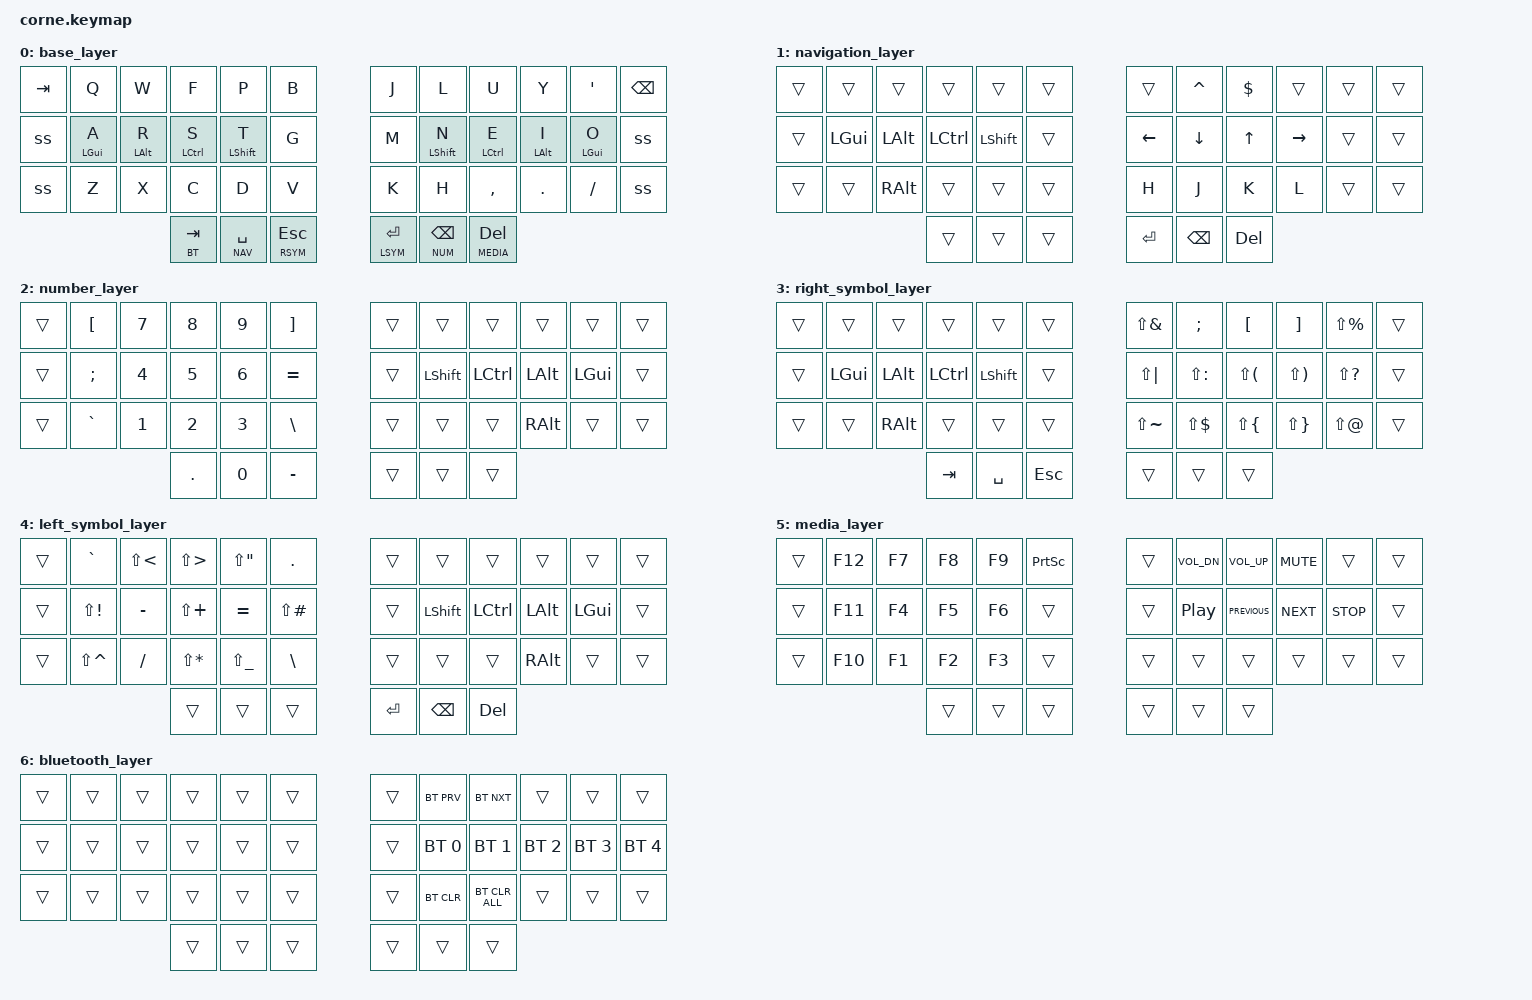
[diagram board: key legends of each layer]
#include <behaviors.dtsi>
#include <dt-bindings/zmk/bt.h>
#include <dt-bindings/zmk/keys.h>
#include "zmk-helpers/key-labels/42.h"

#define BASE 0
#define NAV 1
#define NUM 2
#define RSYM 3
#define LSYM 4
#define MEDIA 5
#define BT 6

#define KEYS_L LT0 LT1 LT2 LT3 LT4 LT5 LM0 LM1 LM2 LM3 LM4 LM5 LB0 LB1 LB2 LB3 LB4 LB5
#define KEYS_R RT0 RT1 RT2 RT3 RT4 RT5 RM0 RM1 RM2 RM3 RM4 RT5 RB0 RB1 RB2 RB3 RB4 RB5
#define THUMBS LH2 LH1 LH0 RH0 RH1 RH2

#define HM_TAPPING_TERM 280
#define HM_TAPPING_TERM_FAST 200
#define HM_PRIOR_IDLE 150

#define COMBO_TERM_FAST 35
#define COMBO_TERM_SLOW 40
#define COMBO_PRIOR_IDLE 100

&sk {  // sticky-key config
    release-after-ms = <900>;  // release after 0.6s
    quick-release;             // no double capitalization when rolling keys
};

&sl {  // sticky-layer config
    ignore-modifiers;          // allow chording sticky mods & layers
};

&lt {
    // Increase layer tap time
    tapping-term-ms = <300>;

    // Quickly tap-tap-holding the lt button will repeat the tap behavior
    // For example enter-enter-hold, will output multiple enter while you
    // keep holding the key.
    // But holding enter without double tapping, will activate the layer.
     quick-tap-ms = <200>;

     flavor = "balanced";
};

&caps_word { 
    // Allow caps word to continue even when minus or underscore
    // are pressed.
    // Also prevent mod presses from cancelling caps word.
    continue-list = <
      UNDERSCORE MINUS
      LCTRL LALT LGUI LSHFT
      RCTRL RALT RGUI RSHFT
      BACKSPACE
    >;
};

/ {
    behaviors {
        hml: homerow_mods_left {
            compatible = "zmk,behavior-hold-tap";
            #binding-cells = <2>;
            bindings = <&kp>, <&kp>;

            flavor = "balanced";
            tapping-term-ms = <HM_TAPPING_TERM>;
            quick-tap-ms = <175>;
            require-prior-idle-ms = <HM_PRIOR_IDLE>;

            hold-trigger-key-positions = <KEYS_R THUMBS>;
            hold-trigger-on-release;
        };

        hmr: homerow_mods_right {
            compatible = "zmk,behavior-hold-tap";
            #binding-cells = <2>;
            bindings = <&kp>, <&kp>;

            flavor = "balanced";
            tapping-term-ms = <HM_TAPPING_TERM>;
            quick-tap-ms = <175>;
            require-prior-idle-ms = <HM_PRIOR_IDLE>;

            hold-trigger-key-positions = <KEYS_L THUMBS>;
            hold-trigger-on-release;
        };

        hmsl: hm_shift_l {
            compatible = "zmk,behavior-hold-tap";
            #binding-cells = <2>;
            bindings = <&kp>, <&kp>;

            flavor = "balanced";
            tapping-term-ms = <HM_TAPPING_TERM_FAST>;
            quick-tap-ms = <175>;
            require-prior-idle-ms = <HM_PRIOR_IDLE>;

            hold-trigger-key-positions = <KEYS_R THUMBS>;
            // hold-trigger-on-release;
        };

        hmsr: hm_shift_r {
            compatible = "zmk,behavior-hold-tap";
            #binding-cells = <2>;
            bindings = <&kp>, <&kp>;

            flavor = "balanced";
            tapping-term-ms = <HM_TAPPING_TERM_FAST>;
            quick-tap-ms = <175>;
            require-prior-idle-ms = <HM_PRIOR_IDLE>;

            hold-trigger-key-positions = <KEYS_L THUMBS>;
            // hold-trigger-on-release;
        }; 
        
        ss: smart_shift {
            compatible = "zmk,behavior-mod-morph";
            #binding-cells = <0>;

            bindings = <&sk LSHFT>, <&caps_word>;

            mods = <(MOD_LSFT)>;
        };
        ltl: layer_tap_left {
            compatible = "zmk,behavior-hold-tap";
            #binding-cells = <2>;
            flavor = "balanced";
            tapping-term-ms = <300>;
            quick-tap-ms = <200>;
            hold-trigger-key-positions = <KEYS_R>;
            bindings = <&mo>, <&kp>;
        };
        ltr: layer_tap_right {
            compatible = "zmk,behavior-hold-tap";
            #binding-cells = <2>;
            flavor = "balanced";
            tapping-term-ms = <300>;
            quick-tap-ms = <200>;
            hold-trigger-key-positions = <KEYS_L>;
            bindings = <&mo>, <&kp>;
        };
    };
    combos {
        compatible = "zmk,combos";

        combo_capsword {
            timeout-ms = <COMBO_TERM_SLOW>;
            require-prior-idle-ms = <COMBO_PRIOR_IDLE>;
            key-positions = <LM1 RM1>;
            layers = <BASE>;
            bindings = <&caps_word>;
        };
    };
    keymap {
        compatible = "zmk,keymap";

        base_layer {
            bindings = <
&kp TAB    &kp Q  &kp W  &kp F    &kp P      &kp B      &kp J    &kp L     &kp U      &kp Y    &kp SQT   &kp BSPC
&ss  &hml LGUI A  &hml LALT R  &hml LCTRL S    &hml LSHIFT T      &kp G      &kp M    &hmr LSHIFT N     &hmr LCTRL E      &hmr LALT I    &hmr LGUI O     &ss
&ss  &kp Z  &kp X  &kp C    &kp D      &kp V      &kp K    &kp H     &kp COMMA  &kp DOT  &kp FSLH  &ss
                         &lt BT TAB  &lt NAV SPACE  &lt RSYM ESC    &lt LSYM RET  &lt NUM BSPC  &lt MEDIA DEL
            >;
        };

        navigation_layer {
            bindings = <
&trans  &trans    &trans    &trans     &trans     &trans    &trans    &kp CARET  &kp DOLLAR  &trans     &trans  &trans
&trans  &kp LGUI  &kp LALT  &kp LCTRL  &kp LSHFT  &trans    &kp LEFT  &kp DOWN   &kp UP      &kp RIGHT  &trans  &trans
&trans  &trans    &kp RALT  &trans     &trans     &trans    &kp H     &kp J      &kp K       &kp L      &trans  &trans
                            &trans     &trans     &trans    &kp RET   &kp BSPC   &kp DEL
            >;
        };

        number_layer {
            bindings = <
&trans  &kp LBKT   &kp N7  &kp N8   &kp N9  &kp RBKT     &trans  &trans     &trans     &trans    &trans    &trans
&trans  &kp SEMI   &kp N4  &kp N5   &kp N6  &kp EQUAL    &trans  &kp LSHFT  &kp LCTRL  &kp LALT  &kp LGUI  &trans
&trans  &kp GRAVE  &kp N1  &kp N2   &kp N3  &kp BSLH     &trans  &trans     &trans     &kp RALT  &trans    &trans
                           &kp DOT  &kp N0  &kp MINUS    &trans  &trans     &trans
            >;
        };

        right_symbol_layer {
            bindings = <
&trans  &trans    &trans    &trans     &trans     &trans     &kp LS(AMPS)   &kp SEMI        &kp LBKT      &kp RBKT      &kp LS(PRCNT)  &trans
&trans  &kp LGUI  &kp LALT  &kp LCTRL  &kp LSHFT  &trans     &kp LS(PIPE)   &kp LS(COLON)   &kp LS(LPAR)  &kp LS(RPAR)  &kp LS(QMARK)  &trans
&trans  &trans    &kp RALT  &trans     &trans     &trans     &kp LS(TILDE)  &kp LS(DOLLAR)  &kp LS(LBRC)  &kp LS(RBRC)  &kp LS(AT)     &trans
                            &kp TAB    &kp SPACE  &kp ESC    &trans         &trans          &trans
            >;
        };

        left_symbol_layer {
            bindings = <
&trans  &kp GRAVE      &kp LS(LT)  &kp LS(GT)    &kp LS(DQT)    &kp DOT          &trans   &trans     &trans     &trans    &trans    &trans
&trans  &kp LS(EXCL)   &kp MINUS   &kp LS(PLUS)  &kp EQUAL      &kp LS(POUND)    &trans   &kp LSHFT  &kp LCTRL  &kp LALT  &kp LGUI  &trans
&trans  &kp LS(CARET)  &kp FSLH    &kp LS(STAR)  &kp LS(UNDER)  &kp BSLH         &trans   &trans     &trans     &kp RALT  &trans    &trans
                                   &trans        &trans         &trans           &kp RET  &kp BSPC   &kp DEL
            >;
        };

        media_layer {
            bindings = <
&trans  &kp F12  &kp F7  &kp F8  &kp F9  &kp PRINTSCREEN    &trans  &kp C_VOL_DN      &kp C_VOLUME_UP  &kp C_MUTE  &trans      &trans
&trans  &kp F11  &kp F4  &kp F5  &kp F6  &trans             &trans  &kp C_PLAY_PAUSE  &kp C_PREVIOUS   &kp C_NEXT  &kp C_STOP  &trans
&trans  &kp F10  &kp F1  &kp F2  &kp F3  &trans             &trans  &trans            &trans           &trans      &trans      &trans
                         &trans  &trans  &trans             &trans  &trans            &trans
            >;
        };

        bluetooth_layer {
            bindings = <
&trans  &trans  &trans  &trans  &trans  &trans    &trans  &bt BT_PRV    &bt BT_NXT      &trans        &trans        &trans
&trans  &trans  &trans  &trans  &trans  &trans    &trans  &bt BT_SEL 0  &bt BT_SEL 1    &bt BT_SEL 2  &bt BT_SEL 3  &bt BT_SEL 4
&trans  &trans  &trans  &trans  &trans  &trans    &trans  &bt BT_CLR    &bt BT_CLR_ALL  &trans        &trans        &trans
                        &trans  &trans  &trans    &trans  &trans        &trans
            >;
        };
    };
};
